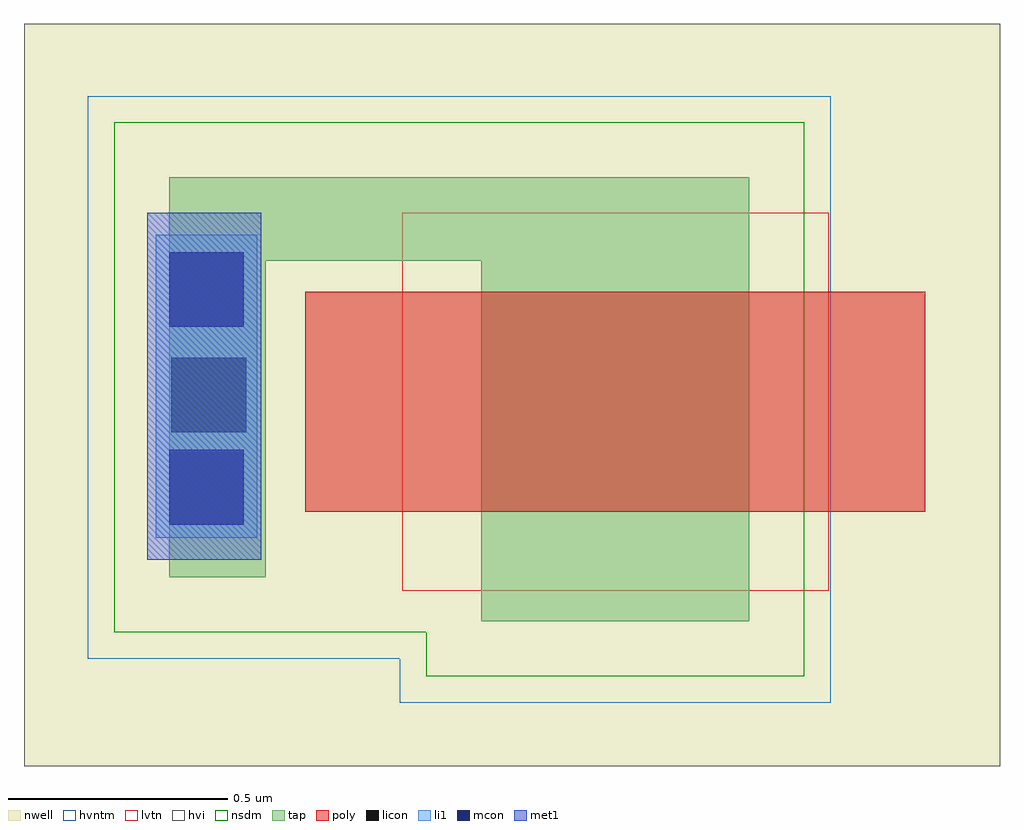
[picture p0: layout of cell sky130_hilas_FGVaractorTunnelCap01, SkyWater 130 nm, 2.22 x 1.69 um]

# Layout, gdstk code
import gdstk
lib = gdstk.Library(unit=1e-6, precision=1e-09)
def R(c, l, rs):  # rectangles x0, y0, x1, y1
    for r in rs: c.add(gdstk.rectangle(r[:2], r[2:], *l))
nwell = (64, 20)
tap = (65, 44)
poly = (66, 20)
licon = (66, 44)
li1 = (67, 20)
mcon = (67, 44)
met1 = (68, 20)
hvi = (75, 20)
nsdm = (93, 44)
hvntm = (125, 20)
lvtn = (125, 44)

sky130_hilas_fgvaractort = lib.new_cell('sky130_hilas_FGVaractorTunnelCap01')
R(sky130_hilas_fgvaractort, nwell, [(0,0,2.22,1.69)])
R(sky130_hilas_fgvaractort, tap, [(1.04,0.33,1.65,1.15), (0.33,0.43,0.55,1.15), (0.33,1.15,1.65,1.34)])
R(sky130_hilas_fgvaractort, poly, [(0.64,0.58,2.05,1.08)])
R(sky130_hilas_fgvaractort, licon, [(0.335,0.76,0.505,0.93)])
R(sky130_hilas_fgvaractort, li1, [(0.3,0.52,0.53,1.21)])
R(sky130_hilas_fgvaractort, mcon, [(0.33,0.55,0.5,0.72), (0.33,1,0.5,1.17)])
R(sky130_hilas_fgvaractort, met1, [(0.28,0.47,0.54,1.26)])
R(sky130_hilas_fgvaractort, hvi, [(0,0,2.22,1.69)])
R(sky130_hilas_fgvaractort, nsdm, [(0.915,0.205,1.775,0.305), (0.205,0.305,1.775,1.465)])
R(sky130_hilas_fgvaractort, hvntm, [(0.855,0.145,1.835,0.245), (0.145,0.245,1.835,1.525)])
R(sky130_hilas_fgvaractort, lvtn, [(0.86,0.4,1.83,1.26)])

lib.write_gds('sky130_hilas_FGVaractorTunnelCap01.gds')
